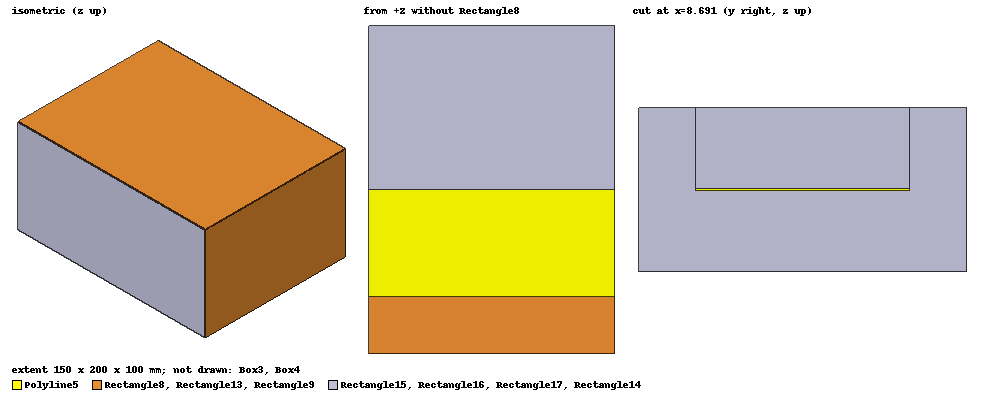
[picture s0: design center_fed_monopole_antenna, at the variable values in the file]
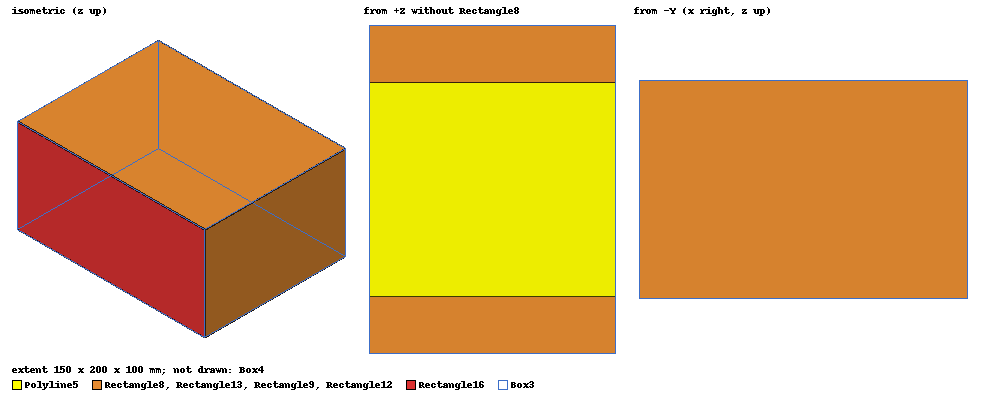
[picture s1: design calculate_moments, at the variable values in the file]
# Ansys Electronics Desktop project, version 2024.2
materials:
  copper: permeability=0.999991 conductivity=58000000
  pec: conductivity=1e+30
  vacuum: permittivity=1

design inverted_F_antenna (HFSS, HFSS Terminal Network, model units mm)
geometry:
  Rectangle7 = rectangle(corner=(-45mm, 0mm, 0mm), z_size=-50mm, x_size=95mm)
  Rectangle8 = rectangle(corner=(75mm, 100mm, 0mm), x_size=-150mm, y_size=-200mm)
  Rectangle9 = rectangle(corner=(75mm, 100mm, -100mm), z_size=100mm, x_size=-150mm)
  Rectangle10 = rectangle(corner=(-75mm, 100mm, -100mm), y_size=-200mm, z_size=100mm)
  Rectangle11 = rectangle(corner=(75mm, 100mm, 0mm), y_size=-200mm, z_size=-100mm)
  Rectangle12 = rectangle(corner=(75mm, -100mm, -100mm), z_size=100mm, x_size=-150mm)
  Rectangle13 = rectangle(corner=(75mm, 100mm, -100mm), x_size=-150mm, y_size=-200mm)
  coordinate_system RelativeCS1 = origin=(0mm, 0mm, 50mm) x=(1mm, 0mm, 0mm) y=(0mm, 1mm, 0mm)
  Polyline5 [copper] = polyline((0mm, 35mm, 0mm) (0mm, 165mm, 0mm)) in RelativeCS1
  Polyline5.sweep_along_vector((300mm, 0mm, 0mm)) in RelativeCS1
  Polyline5.sweep_along_vector((0mm, 0mm, 1mm)) in RelativeCS1
  Polyline5.move(0mm, 0mm, -0.5mm) in RelativeCS1
  Polyline5.scale(0.5, 1, 1) in RelativeCS1
  Polyline5.move(-75mm, -100mm, -100mm)
  Rectangle14 = rectangle(corner=(75mm, 35mm, 0.5mm), y_size=130mm, z_size=49.5mm) in RelativeCS1
  Rectangle14.move(-75mm, -100mm, -100mm)
  Rectangle15 = rectangle(corner=(0mm, 200mm, -50mm), y_size=-200mm, z_size=100mm) in RelativeCS1
  Rectangle15.move(-75mm, -100mm, -100mm)
  Rectangle16 = rectangle(corner=(150mm, 200mm, -50mm), y_size=-200mm, z_size=100mm) in RelativeCS1
  Rectangle16.move(-75mm, -100mm, -100mm)
  coordinate_system RelativeCS3 = origin=(75mm, 165mm, 50mm) x=(1mm, 0mm, 0mm) y=(0mm, 1mm, 0mm) in RelativeCS1
  coordinate_system RelativeCS4 = origin=(0mm, -65mm, 0mm) x=(1mm, 0mm, 0mm) y=(0mm, 1mm, 0mm) in RelativeCS3
  coordinate_system RelativeCS6 = origin=(-7.9906568mm, -0.2mm, -4.9954624mm) x=(1mm, 0mm, 0mm) y=(0mm, 1mm, 0mm) in RelativeCS4
  Polyline6 = polyline(xyz in mm: (0, 0, 2.6607784) (-0.0011431925, 0, 3.9358706) (-0.0011431925, 0.1, 3.9358706) (0, 0.1, 2.6607784) (0, 0, 2.6607784), closed, covered) in RelativeCS6
  coordinate_system RelativeCS9 = origin=(-75mm, 100mm, -100mm) x=(1mm, 0mm, 0mm) y=(0mm, 1mm, 0mm)
  coordinate_system RelativeCS10 = origin=(0mm, 0mm, -60mm) x=(1mm, 0mm, 0mm) y=(0mm, 1mm, 0mm) in RelativeCS9
  Box4 [vacuum] = box(corner=(0mm, 0mm, 0mm), size=(150mm, -200mm, 220mm)) in RelativeCS10
  Box4.scale(1, 1.5, 1) in RelativeCS10
  Box4.move(0mm, 50mm, 0mm) in RelativeCS10
  coordinate_system RelativeCS11 = origin=(150mm, 0mm, 60mm) x=(1mm, 0mm, 0mm) y=(0mm, 1mm, 0mm) in RelativeCS10
  coordinate_system RelativeCS12 = origin=(0mm, -35mm, 50.5mm) x=(1mm, 0mm, 0mm) y=(0mm, 1mm, 0mm) in RelativeCS11
  Polyline7 = polyline((0mm, -65mm, 0mm) (0mm, -65mm, 49.5mm)) in RelativeCS12
  Polyline7_1 = Polyline7.duplicate_along_line(step=(-150mm, 0mm, 0mm), total=2) in RelativeCS12
  coordinate_system RelativeCS13 = origin=(-75mm, 100mm, -100mm) x=(1mm, 0mm, 0mm) y=(0mm, 1mm, 0mm)
  coordinate_system RelativeCS14 = origin=(0mm, 0mm, -60mm) x=(1mm, 0mm, 0mm) y=(0mm, 1mm, 0mm) in RelativeCS13
  Cylinder4 = cylinder(axis=Z, base_centre=(75mm, -165.1mm, 159.95mm), radius=0.14142136mm, height=0.05mm)
  Cylinder4.move(0.041421356mm, 65.1mm, 0mm)
  Cylinder4.move(-0.041421356mm, -0.24142136mm, 0mm)
  coordinate_system RelativeCS16 = origin=(235mm, 130mm, 0mm) x=(1mm, 0mm, 0mm) y=(0mm, 1mm, 0mm)
  coordinate_system RelativeCS15 = origin=(-85mm, -165mm, 110.5mm) x=(1mm, 0mm, 0mm) y=(0mm, 1mm, 0mm) in RelativeCS16
  Cylinder4.move(1.2414214mm, 0.24142136mm, 2.8421709e-14mm) in RelativeCS15
  Cylinder4.move(-1.2414214mm, 0mm, 0mm) in RelativeCS15
  Cylinder4.move(-75.1mm, 100mm, -160.05mm)
  Cylinder4.move(0.1mm, 0mm, 0.05mm)
  Cylinder5 = cylinder(axis=Z, base_centre=(1mm, 0mm, -0.05mm), radius=0.1mm, height=0.05mm)
  Cylinder6 = cylinder(axis=Z, base_centre=(1mm, 0mm, -0.05mm), radius=0.1mm, height=-1.35mm)
  Cylinder6_1 [copper] = Cylinder6.duplicate_along_line(step=(-1mm, 0mm, -5.4033167e-14mm), total=2)
  coordinate_system RelativeCS17 = origin=(0mm, 0mm, -1.4mm) x=(1mm, 0mm, 0mm) y=(0mm, 1mm, 0mm)
  Cylinder7 = cylinder(axis=X, base_centre=(-0.1mm, 0mm, 0mm), radius=0.1mm, height=3.7mm) in RelativeCS17
  Cylinder6_1.unite(Cylinder6, Cylinder7, Cylinder4, Cylinder5)
  coordinate_system RelativeCS18 = origin=(1mm, 0mm, -0.15mm) x=(1mm, 0mm, 0mm) y=(0mm, 1mm, 0mm) in RelativeCS17
  coordinate_system RelativeCS19 = origin=(-1mm, 0mm, 1.55mm) x=(1mm, 0mm, 0mm) y=(0mm, 1mm, 0mm) in RelativeCS18
  Circle1 = circle(normal=Z, centre=(1mm, 0mm, -1.55mm), radius=0.2mm) in RelativeCS19
  Rectangle8.subtract(Circle1)
  Circle2 = circle(normal=Z, centre=(1mm, 0mm, -1.55mm), radius=0.2mm) in RelativeCS19
  Rectangle8.subtract(Circle2)
  Cylinder8 = cylinder(axis=Z, base_centre=(1mm, 0mm, 0mm), radius=0.1mm, height=0.1mm) in RelativeCS19
  Rectangle8.subtract(Cylinder8)
  Cylinder9 = cylinder(axis=Z, base_centre=(1mm, 0mm, 0mm), radius=0.2mm, height=4.5mm) in RelativeCS19
  Rectangle8.subtract(Cylinder9)
  Circle3 = circle(normal=Z, centre=(1mm, 0mm, 0mm), radius=0.1mm) in RelativeCS19
  Circle4 = circle(normal=Z, centre=(1mm, 0mm, 0mm), radius=0.2mm) in RelativeCS19
  Circle4.subtract(Circle3)
  pecCap1 [pec] = object_from(Circle4.edge(at (0.8, 0, 0)))
  pecCap1.thicken(0.05mm)
  point Point1 = (-75mm, 0mm, -24.75mm) in RelativeCS19
  coordinate_system RelativeCS20 = origin=(-4.8mm, 0mm, 0mm) x=(1mm, 0mm, 0mm) y=(0mm, 1mm, 0mm) in RelativeCS19
  coordinate_system RelativeCS21 = origin=(4.8mm, 0mm, 0mm) x=(1mm, 0mm, 0mm) y=(0mm, 1mm, 0mm) in RelativeCS20
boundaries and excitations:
  PerfE1: Perfect E Objects=[Rectangle13, Rectangle12, Rectangle8, Rectangle9]
  Rad1: Radiation Objects=Box4
  1: Wave Port Objects=Rectangle15 WavePortType=Modal NumModes=1 Modes{Mode1{IntLine{(-75, 0, -49.5) -> (-75, 0, 0)} CharImp=Zpi}}
  2: Wave Port Objects=Rectangle16 WavePortType=Modal NumModes=1 Modes{Mode1{IntLine{(75, 0, -49.5) -> (75, 0, 0)} CharImp=Zpi}}
  3: Wave Port Objects=Circle4 WavePortType=Modal NumModes=1 Modes{Mode1{IntLine{(1.1, 0, 0) -> (1.2, 0, 0)} CharImp=Zpi}}
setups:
  Setup1: HfssDrivenAuto AutoSolverSetting=Balanced Type=Interpolating
    sweep Sweep: 0GHz to 1GHz, 501 points;
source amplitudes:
  1:1, 2:1: 0W 0deg
  3:1: (10000000*0.85) W 0deg
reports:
  Antenna coupling to waveport 1: dB(St(3,1)), ang_deg(St(3,1)) vs Freq on Setup1 : Sweep; markers MX1 at x=5.4987593e+08
  Antenna coupling to waveport 2: dB(St(3,2)), ang_deg(St(3,2)) vs Freq on Setup1 : Sweep; markers MX1 at x=5.5017474e+08

design center_fed_monopole_antenna (HFSS, HFSS Terminal Network, model units mm)
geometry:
  coordinate_system RelativeCS8 = origin=(8.1906568mm, 0.2mm, 0.04546245mm) x=(1mm, 0mm, 0mm) y=(0mm, 1mm, 0mm)
  Rectangle7 = rectangle(corner=(-45mm, 0mm, 0mm), z_size=-50mm, x_size=95mm) in RelativeCS8
  Cylinder1 [copper] = cylinder(axis=Z, base_centre=(0mm, 0mm, 0mm), radius=0.1mm, height=-5mm) in RelativeCS8
  Cylinder2 = cylinder(axis=Z, base_centre=(1mm, 0mm, 0mm), radius=0.1mm, height=-1.5mm) in RelativeCS8
  Cylinder3 = cylinder(axis=X, base_centre=(1mm, 0mm, -1.5mm), radius=0.1mm, height=-1mm) in RelativeCS8
  Cylinder1.unite(Cylinder2, Cylinder3)
  Rectangle8 = rectangle(corner=(75mm, 100mm, 0mm), x_size=-150mm, y_size=-200mm) in RelativeCS8
  Rectangle9 = rectangle(corner=(75mm, 100mm, -100mm), z_size=100mm, x_size=-150mm) in RelativeCS8
  Rectangle10 = rectangle(corner=(-75mm, 100mm, -100mm), y_size=-200mm, z_size=100mm) in RelativeCS8
  Rectangle11 = rectangle(corner=(75mm, 100mm, 0mm), y_size=-200mm, z_size=-100mm) in RelativeCS8
  Rectangle12 = rectangle(corner=(75mm, -100mm, -100mm), z_size=100mm, x_size=-150mm) in RelativeCS8
  Rectangle13 = rectangle(corner=(75mm, 100mm, -100mm), x_size=-150mm, y_size=-200mm) in RelativeCS8
  Box3 [vacuum] = box(corner=(0mm, 0mm, 0mm), size=(300mm, 200mm, 100mm)) in RelativeCS8
  coordinate_system RelativeCS1 = origin=(0mm, 0mm, 50mm) x=(1mm, 0mm, 0mm) y=(0mm, 1mm, 0mm) in RelativeCS8
  Box3.scale(0.5, 1, 1) in RelativeCS1
  Polyline5 [copper] = polyline((0mm, 35mm, 0mm) (0mm, 165mm, 0mm)) in RelativeCS1
  Polyline5.sweep_along_vector((300mm, 0mm, 0mm)) in RelativeCS1
  Polyline5.sweep_along_vector((0mm, 0mm, 1mm)) in RelativeCS1
  Polyline5.move(0mm, 0mm, -0.5mm) in RelativeCS1
  Polyline5.scale(0.5, 1, 1) in RelativeCS1
  Rectangle14 = rectangle(corner=(75mm, 35mm, 0.5mm), y_size=130mm, z_size=49.5mm) in RelativeCS1
  Rectangle15 = rectangle(corner=(0mm, 200mm, -50mm), y_size=-200mm, z_size=100mm) in RelativeCS1
  Rectangle16 = rectangle(corner=(150mm, 200mm, -50mm), y_size=-200mm, z_size=100mm) in RelativeCS1
  coordinate_system RelativeCS3 = origin=(75mm, 165mm, 50mm) x=(1mm, 0mm, 0mm) y=(0mm, 1mm, 0mm) in RelativeCS1
  coordinate_system RelativeCS4 = origin=(0mm, -65mm, 0mm) x=(1mm, 0mm, 0mm) y=(0mm, 1mm, 0mm) in RelativeCS3
  coordinate_system RelativeCS6 = origin=(-7.9906568mm, -0.2mm, -4.9954624mm) x=(1mm, 0mm, 0mm) y=(0mm, 1mm, 0mm) in RelativeCS4
  Polyline6 = polyline(xyz in mm: (0, 0, 2.6607784) (-0.0011431925, 0, 3.9358706) (-0.0011431925, 0.1, 3.9358706) (0, 0.1, 2.6607784) (0, 0, 2.6607784), closed, covered) in RelativeCS6
  [Rectangle14, Rectangle15, Rectangle16, Cylinder1, Box3, Polyline5].move(-75mm, -100mm, -100mm) in RelativeCS8
  coordinate_system RelativeCS9 = origin=(-75mm, 100mm, -100mm) x=(1mm, 0mm, 0mm) y=(0mm, 1mm, 0mm) in RelativeCS8
  coordinate_system RelativeCS10 = origin=(0mm, 0mm, -60mm) x=(1mm, 0mm, 0mm) y=(0mm, 1mm, 0mm) in RelativeCS9
  Box4 [vacuum] = box(corner=(0mm, 0mm, 0mm), size=(150mm, -200mm, 220mm)) in RelativeCS10
  Cylinder1.move(0mm, -109.5mm, 247mm) in RelativeCS10
  Cylinder1.move(75mm, 144.5mm, -147mm) in RelativeCS10
  Cylinder1.move(1.4210855e-14mm, 0mm, -0.05mm) in RelativeCS10
  Box4.scale(1, 1.5, 1) in RelativeCS10
  Box4.move(0mm, 50mm, 0mm) in RelativeCS10
  Cylinder1.move(0mm, 65mm, 2.8421709e-14mm) in RelativeCS10
  coordinate_system RelativeCS11 = origin=(235mm, 130mm, 0mm) x=(1mm, 0mm, 0mm) y=(0mm, 1mm, 0mm) in RelativeCS10
  coordinate_system RelativeCS12 = origin=(-85mm, -165mm, 110.5mm) x=(1mm, 0mm, 0mm) y=(0mm, 1mm, 0mm) in RelativeCS11
  coordinate_system RelativeCS13 = origin=(-75mm, -65mm, 49.5mm) x=(1mm, 0mm, 0mm) y=(0mm, 1mm, 0mm) in RelativeCS12
  Cylinder4 [copper] = cylinder(axis=Z, base_centre=(75mm, -165.1mm, 159.95mm), radius=0.14142136mm, height=0.05mm) in RelativeCS13
  Cylinder4.move(0.041421356mm, 65.1mm, 0mm) in RelativeCS13
  Cylinder4.move(-0.041421356mm, -0.24142136mm, 0mm) in RelativeCS13
  coordinate_system RelativeCS14 = origin=(235mm, 130mm, 0mm) x=(1mm, 0mm, 0mm) y=(0mm, 1mm, 0mm) in RelativeCS13
  coordinate_system RelativeCS15 = origin=(-85mm, -165mm, 110.5mm) x=(1mm, 0mm, 0mm) y=(0mm, 1mm, 0mm) in RelativeCS14
  Cylinder4.move(1.2414214mm, 0.24142136mm, 2.8421709e-14mm) in RelativeCS15
  Cylinder4.move(-1.2414214mm, 0mm, 0mm) in RelativeCS15
  Cylinder4.move(-75.1mm, 100mm, -160.05mm) in RelativeCS13
  Cylinder4.move(0.1mm, 0mm, 0.05mm) in RelativeCS13
  Circle1 = circle(normal=Z, centre=(1mm, 0mm, 0mm), radius=0.25mm) in RelativeCS13
  Box4.subtract(Circle1)
  Cylinder5 [copper] = cylinder(axis=Z, base_centre=(1mm, 0mm, -0.05mm), radius=0.1mm, height=0.05mm) in RelativeCS13
  Circle2 = circle(normal=Z, centre=(1mm, 0mm, 0mm), radius=0.1mm) in RelativeCS13
  Circle3 = circle(normal=Z, centre=(1mm, 0mm, 0mm), radius=0.2mm) in RelativeCS13
  Box3.subtract(Circle3)
  Circle4 = circle(normal=Z, centre=(1mm, 0mm, 0mm), radius=0.2mm) in RelativeCS13
  Box3.subtract(Circle4)
  Circle5 = circle(normal=Z, centre=(1mm, 0mm, 0mm), radius=0.2mm) in RelativeCS13
  Box3.subtract(Circle5)
  Circle6 = circle(normal=Z, centre=(1mm, 0mm, 0mm), radius=0.2mm) in RelativeCS13
  Rectangle8.subtract(Circle6)
  Circle7 = circle(normal=Z, centre=(1mm, 0mm, 0mm), radius=0.2mm) in RelativeCS13
  pecCap1 [pec] = sweep_along_normal(Circle7.face(at (9.19066, 0.2, 0.0454624)), length=0.05mm)
  Polyline7 = polyline((-75mm, 0mm, 0mm) (-75mm, 0mm, -49.5mm)) in RelativeCS13
  Polyline8 = polyline((75mm, 0mm, 0mm) (75mm, 0mm, -49.5mm)) in RelativeCS13
  point Point1 = (0mm, 0mm, -24.75mm) in RelativeCS13
  coordinate_system RelativeCS16 = origin=(-75mm, 0mm, 0mm) x=(1mm, 0mm, 0mm) y=(0mm, 1mm, 0mm) in RelativeCS13
  point Point2 = (0mm, 0mm, -24.75mm) in RelativeCS16
  Rectangle17 = rectangle(corner=(0mm, 0mm, -24.75mm), x_size=150mm, y_size=100mm) in RelativeCS16
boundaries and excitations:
  PerfE1: Perfect E Objects=[Rectangle13, Rectangle12, Rectangle8, Rectangle9]
  Rad1: Radiation Objects=Box4
  Cylinder5_T1: Terminal port=1 Faces=Cylinder5.face(at (9.19066, 0.2, 0.0454624)) TerminalResistance=50ohm
  1: Wave Port Faces=Circle7.face(at (9.19066, 0.2, 0.0454624)) WavePortType=Terminal NumModes=1
  2: Wave Port Objects=Rectangle10 WavePortType=Modal NumModes=1 Modes{Mode1{IntLine{(-66.809343, 0.2, -49.45453755) -> (-66.809343, 0.2, 0.04546245)} CharImp=Zpi}}
  3: Wave Port Objects=Rectangle11 WavePortType=Modal NumModes=1 Modes{Mode1{IntLine{(83.190657, 0.2, -49.45453755) -> (83.190657, 0.2, 0.04546245)} CharImp=Zpi}}
  reference conductors: Rectangle8
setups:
  Setup1: HfssDrivenAuto AutoSolverSetting=Balanced Type=Interpolating
    sweep Sweep: 0GHz to 1GHz, 501 points;
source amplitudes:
  1:1: (2600*2600) W 0deg
  2:1, 3:1: 0W 0deg
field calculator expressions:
  U_1 = Complex_Constant(0.000924799403163378, 0.000735161421858548)
  U_2 = Complex_Constant(-0.000551887143689607, -0.000778771115483979)
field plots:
  Vector_E1: E Field over Rectangle7.face on Setup1 : LastAdaptive at Freq=0.55GHz Phase=0deg
  Vector_H2: H Field over Rectangle7.face on Setup1 : LastAdaptive at Freq=0.55GHz Phase=0deg
  ABS_Q1: Q Fields over Cylinder1.face(all 8) on Setup1 : LastAdaptive at Freq=0.55GHz Phase=0deg
  Mag_Jsurf1: Jsurf over Cylinder1.face(all 8) on Setup1 : LastAdaptive at Freq=0.55GHz Phase=0deg
  Vector_E2: E Field over Rectangle17.face on Setup1 : LastAdaptive at Freq=0.55GHz Phase=0deg
  Vector_H1: H Field over Rectangle17.face on Setup1 : LastAdaptive at Freq=0.55GHz Phase=0deg
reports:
  Terminal S Parameter Plot 1: dB(St(2,Cylinder5_T1)), ang_deg(St(2,Cylinder5_T1)) vs Freq on Setup1 : Sweep; markers MX1 at x=5.4993622e+08
  Terminal S Parameter Plot 2: dB(St(3,Cylinder5_T1)), ang_deg(St(3,Cylinder5_T1)) vs Freq on Setup1 : Sweep; markers MX1 at x=5.4980426e+08
  Terminal S Parameter Plot 3: dB(St(2,3)), ang_deg(St(2,3)) vs Freq on Setup1 : Sweep; markers MX1 at x=5.5022026e+08

design calculate_moments (HFSS, HFSS Terminal Network, model units mm)
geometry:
  coordinate_system RelativeCS8 = origin=(8.1906568mm, 0.2mm, 0.04546245mm) x=(1mm, 0mm, 0mm) y=(0mm, 1mm, 0mm)
  Rectangle7 = rectangle(corner=(-45mm, 0mm, 0mm), z_size=-50mm, x_size=95mm) in RelativeCS8
  Rectangle8 = rectangle(corner=(75mm, 100mm, 0mm), x_size=-150mm, y_size=-200mm) in RelativeCS8
  Rectangle9 = rectangle(corner=(75mm, 100mm, -100mm), z_size=100mm, x_size=-150mm) in RelativeCS8
  Rectangle10 = rectangle(corner=(-75mm, 100mm, -100mm), y_size=-200mm, z_size=100mm) in RelativeCS8
  Rectangle11 = rectangle(corner=(75mm, 100mm, 0mm), y_size=-200mm, z_size=-100mm) in RelativeCS8
  Rectangle12 = rectangle(corner=(75mm, -100mm, -100mm), z_size=100mm, x_size=-150mm) in RelativeCS8
  Rectangle13 = rectangle(corner=(75mm, 100mm, -100mm), x_size=-150mm, y_size=-200mm) in RelativeCS8
  Box3 [vacuum] = box(corner=(0mm, 0mm, 0mm), size=(300mm, 200mm, 100mm)) in RelativeCS8
  coordinate_system RelativeCS1 = origin=(0mm, 0mm, 50mm) x=(1mm, 0mm, 0mm) y=(0mm, 1mm, 0mm) in RelativeCS8
  Box3.scale(0.5, 1, 1) in RelativeCS1
  Polyline5 [copper] = polyline((0mm, 35mm, 0mm) (0mm, 165mm, 0mm)) in RelativeCS1
  Polyline5.sweep_along_vector((300mm, 0mm, 0mm)) in RelativeCS1
  Polyline5.sweep_along_vector((0mm, 0mm, 1mm)) in RelativeCS1
  Polyline5.move(0mm, 0mm, -0.5mm) in RelativeCS1
  Polyline5.scale(0.5, 1, 1) in RelativeCS1
  Rectangle14 = rectangle(corner=(75mm, 35mm, 0.5mm), y_size=130mm, z_size=49.5mm) in RelativeCS1
  Rectangle15 = rectangle(corner=(0mm, 200mm, -50mm), y_size=-200mm, z_size=100mm) in RelativeCS1
  Rectangle16 = rectangle(corner=(150mm, 200mm, -50mm), y_size=-200mm, z_size=100mm) in RelativeCS1
  coordinate_system RelativeCS3 = origin=(75mm, 165mm, 50mm) x=(1mm, 0mm, 0mm) y=(0mm, 1mm, 0mm) in RelativeCS1
  coordinate_system RelativeCS4 = origin=(0mm, -65mm, 0mm) x=(1mm, 0mm, 0mm) y=(0mm, 1mm, 0mm) in RelativeCS3
  coordinate_system RelativeCS6 = origin=(-7.9906568mm, -0.2mm, -4.9954624mm) x=(1mm, 0mm, 0mm) y=(0mm, 1mm, 0mm) in RelativeCS4
  Polyline6 = polyline(xyz in mm: (0, 0, 2.6607784) (-0.0011431925, 0, 3.9358706) (-0.0011431925, 0.1, 3.9358706) (0, 0.1, 2.6607784) (0, 0, 2.6607784), closed, covered) in RelativeCS6
  [Rectangle14, Rectangle15, Rectangle16, Box3, Polyline5].move(-75mm, -100mm, -100mm) in RelativeCS8
  coordinate_system RelativeCS9 = origin=(-75mm, 100mm, -100mm) x=(1mm, 0mm, 0mm) y=(0mm, 1mm, 0mm) in RelativeCS8
  coordinate_system RelativeCS10 = origin=(0mm, 0mm, -60mm) x=(1mm, 0mm, 0mm) y=(0mm, 1mm, 0mm) in RelativeCS9
  Box4 [vacuum] = box(corner=(0mm, 0mm, 0mm), size=(150mm, -200mm, 220mm)) in RelativeCS10
  Box4.scale(1, 1.5, 1) in RelativeCS10
  Box4.move(0mm, 50mm, 0mm) in RelativeCS10
  coordinate_system RelativeCS11 = origin=(150mm, 0mm, 60mm) x=(1mm, 0mm, 0mm) y=(0mm, 1mm, 0mm) in RelativeCS10
  coordinate_system RelativeCS12 = origin=(0mm, -35mm, 50.5mm) x=(1mm, 0mm, 0mm) y=(0mm, 1mm, 0mm) in RelativeCS11
  Polyline7 = polyline((0mm, -65mm, 0mm) (0mm, -65mm, 49.5mm)) in RelativeCS12
  Polyline7_1 = Polyline7.duplicate_along_line(step=(-150mm, 0mm, 0mm), total=2) in RelativeCS12
  point Point1 = (-75mm, -65mm, 24.75mm) in RelativeCS12
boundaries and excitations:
  PerfE1: Perfect E Objects=[Rectangle13, Rectangle12, Rectangle8, Rectangle9]
  Rad1: Radiation Objects=Box4
  1: Wave Port Objects=Rectangle15 WavePortType=Modal NumModes=1 Modes{Mode1{IntLine{(-66.809343, 0.2, -49.45453755) -> (-66.809343, 0.2, 0.04546245)} CharImp=Zpi}}
  2: Wave Port Objects=Rectangle16 WavePortType=Modal NumModes=1 Modes{Mode1{IntLine{(83.190657, 0.2, -49.45453755) -> (83.190657, 0.2, 0.04546245)} CharImp=Zpi}}
  reference conductors: Rectangle8
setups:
  Setup1: HfssDrivenAuto AutoSolverSetting=Balanced Type=Interpolating
    sweep Sweep: 0GHz to 1GHz, 501 points;
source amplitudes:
  1:1: 1V 0deg
  2:1: 0V 0deg
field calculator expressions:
  U_2 = Complex_Constant(9.89491006303791, 0.019771581817983)
  U_1 = Complex_Constant(-1.62457557524812, -9.88575991314487)
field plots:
  Vector_E1: E Field over Rectangle7.face on Setup1 : LastAdaptive at Freq=0.55GHz Phase=0deg
  Vector_H2: H Field over Rectangle7.face on Setup1 : LastAdaptive at Freq=0.55GHz Phase=0deg
  Vector_E2: E Field over Rectangle14.face(at (8.19066, 0.2, -24.7045)) on Setup1 : LastAdaptive at Freq=0.55GHz Phase=0deg
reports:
  Terminal S Parameter Plot 1: dB(St(1,1)) vs Freq on Setup1 : Sweep
  Terminal S Parameter Plot 2: dB(St(2,1)) vs Freq on Setup1 : Sweep
